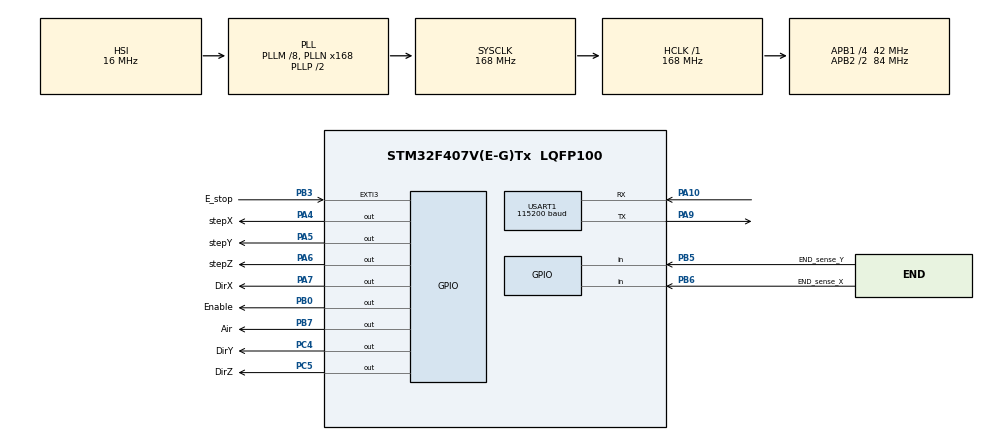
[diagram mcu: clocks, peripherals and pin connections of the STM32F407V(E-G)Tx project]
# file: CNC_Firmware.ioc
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Mcu.Family=STM32F4
Mcu.Name=STM32F407V(E-G)Tx
Mcu.Package=LQFP100
<<<<<<< HEAD
=======
>>>>>>> 1f7927fa3242afaf79d86d3b0a9f3e2ba898adbf
<<<<<<< HEAD
=======
>>>>>>> 1f7927fa3242afaf79d86d3b0a9f3e2ba898adbf
NVIC.EXTI3_IRQn=true\:0\:0\:false\:false\:true\:true\:true\:true
NVIC.PriorityGroup=NVIC_PRIORITYGROUP_4
NVIC.TIM1_UP_TIM10_IRQn=true\:0\:0\:false\:false\:true\:true\:true\:true
<<<<<<< HEAD
NVIC.TIM6_DAC_IRQn=true\:0\:0\:true\:false\:true\:true\:true\:true
NVIC.TIM7_IRQn=true\:0\:0\:true\:false\:true\:true\:true\:true
=======
NVIC.TIM6_DAC_IRQn=true\:0\:0\:false\:false\:true\:true\:true\:true
NVIC.TIM7_IRQn=true\:0\:0\:false\:false\:true\:true\:true\:true
>>>>>>> 1f7927fa3242afaf79d86d3b0a9f3e2ba898adbf
NVIC.USART1_IRQn=true\:0\:0\:false\:false\:true\:true\:true\:true
PA10.Mode=Asynchronous
PA10.Signal=USART1_RX
PA13.Mode=Serial_Wire
PA13.Signal=SYS_JTMS-SWDIO
PA14.Mode=Serial_Wire
PA14.Signal=SYS_JTCK-SWCLK
PA4.GPIO_Label=stepX
PA4.Signal=GPIO_Output
PA5.GPIO_Label=stepY
PA5.Signal=GPIO_Output
PA6.GPIO_Label=stepZ
PA6.Signal=GPIO_Output
PA7.GPIO_Label=DirX
PA7.Signal=GPIO_Output
PA9.Mode=Asynchronous
PA9.Signal=USART1_TX
PB0.GPIO_Label=Enable
PB0.Signal=GPIO_Output
<<<<<<< HEAD
PB3.GPIO_Label=E_stop
PB3.GPIO_ModeDefaultEXTI=GPIO_MODE_IT_FALLING
PB3.GPIO_PuPd=GPIO_PULLUP
PB3.Signal=GPXTI3
PB5.GPIO_Label=END_sense_Y
PB5.GPIO_PuPd=GPIO_PULLDOWN
PB5.Signal=GPIO_Input
PB6.GPIO_Label=END_sense_X
PB6.GPIO_PuPd=GPIO_PULLDOWN
PB6.Signal=GPIO_Input
=======
>>>>>>> 1f7927fa3242afaf79d86d3b0a9f3e2ba898adbf
PB7.GPIO_Label=Air
PB7.PinState=GPIO_PIN_SET
PB7.Signal=GPIO_Output
PC4.GPIO_Label=DirY
PC4.Signal=GPIO_Output
PC5.GPIO_Label=DirZ
PC5.Signal=GPIO_Output
PH0-OSC_IN.Mode=HSE-External-Oscillator
PH0-OSC_IN.Signal=RCC_OSC_IN
PH1-OSC_OUT.Mode=HSE-External-Oscillator
PH1-OSC_OUT.Signal=RCC_OSC_OUT
ProjectManager.HeapSize=0x200
ProjectManager.StackSize=0x400
ProjectManager.TargetToolchain=MDK-ARM V5.32
<<<<<<< HEAD
=======
>>>>>>> 1f7927fa3242afaf79d86d3b0a9f3e2ba898adbf
RCC.48MHZClocksFreq_Value=84000000
RCC.AHBFreq_Value=168000000
RCC.APB1CLKDivider=RCC_HCLK_DIV4
RCC.APB1Freq_Value=42000000
RCC.APB1TimFreq_Value=84000000
RCC.APB2CLKDivider=RCC_HCLK_DIV2
RCC.APB2Freq_Value=84000000
RCC.APB2TimFreq_Value=168000000
RCC.CortexFreq_Value=168000000
RCC.HCLKFreq_Value=168000000
RCC.HSE_VALUE=25000000
RCC.HSI_VALUE=16000000
RCC.LSE_VALUE=32768
RCC.PLLM=8
RCC.PLLN=168
RCC.SYSCLKFreq_VALUE=168000000
RCC.SYSCLKSource=RCC_SYSCLKSOURCE_PLLCLK
RCC.VCOOutputFreq_Value=336000000
<<<<<<< HEAD
=======
>>>>>>> 1f7927fa3242afaf79d86d3b0a9f3e2ba898adbf
TIM10.Period=500
TIM10.Prescaler=83
TIM6.Period=500
TIM6.Prescaler=83
TIM7.Period=500
TIM7.Prescaler=83
<<<<<<< HEAD
USART1.BaudRate=115200
USART1.OverSampling=UART_OVERSAMPLING_16
=======
>>>>>>> 1f7927fa3242afaf79d86d3b0a9f3e2ba898adbf
USART1.VirtualMode=VM_ASYNC
VP_TIM10_VS_ClockSourceINT.Mode=Enable_Timer
VP_TIM6_VS_ClockSourceINT.Mode=Enable_Timer
VP_TIM7_VS_ClockSourceINT.Mode=Enable_Timer
board=custom

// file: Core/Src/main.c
/* USER CODE BEGIN Header */
/**
  ******************************************************************************
  * @file           : main.c
  * @brief          : Main program body
  ******************************************************************************
  * @attention
  *
  * Copyright (c) 2023 STMicroelectronics.
  * All rights reserved.
  *
  * This software is licensed under terms that can be found in the LICENSE file
  * in the root directory of this software component.
  * If no LICENSE file comes with this software, it is provided AS-IS.
  *
  ******************************************************************************
  */
/* USER CODE END Header */
#include "main.h"

/* USER CODE BEGIN Includes */
#include <math.h>
/* USER CODE END Includes */

/* USER CODE BEGIN PD */
#define buf_size 5000
/* USER CODE END PD */

TIM_HandleTypeDef htim6;
TIM_HandleTypeDef htim7;
TIM_HandleTypeDef htim10;

UART_HandleTypeDef huart1;

/* USER CODE BEGIN PV */

uint8_t str[3];
uint8_t TxD[1];
uint8_t current_command = 0;
uint8_t message = '0';  // zero state message
/*
message = '0' - zero state message
message = '1' - ready to next frame message
message = '2' - ready to get x-coord
message = '3' - ready to get y-coord
message = '4' - program if completed
message = '5' - error message
*/

uint32_t x_coord;
uint32_t y_coord;
uint32_t x_prev = 0;
uint32_t y_prev = 0;

uint8_t X_dir = 1;
uint8_t Y_dir = 1;
uint8_t Z_dir = 1;
int32_t X_pos = 0;
int32_t Y_pos = 0;
int32_t Z_pos = 0;

uint8_t flag = 0; // useles
uint32_t feed_rate = 3000;
uint32_t free_speed = 7000;
uint32_t X_period = 500;
uint32_t Y_period = 500;
uint32_t f = 1000000; // dont use
int32_t X_e;
int32_t Y_e;
uint8_t X_home;
uint8_t Y_home;
uint8_t command [buf_size];
uint32_t X_buf [buf_size];
uint32_t Y_buf [buf_size];
uint16_t X_period_buf[buf_size];
uint16_t Y_period_buf[buf_size];
uint16_t frame = 0;
uint8_t X_dir_buf[buf_size];
uint8_t Y_dir_buf[buf_size];

uint32_t cycles_count = 0;
uint8_t ProgrammIsDone = 0;
uint8_t LoadingIsDone = 0;

/* USER CODE END PV */

void SystemClock_Config(void);
static void MX_GPIO_Init(void);
static void MX_TIM6_Init(void);
static void MX_TIM7_Init(void);
static void MX_TIM10_Init(void);
static void MX_USART1_UART_Init(void);
/* USER CODE BEGIN PFP */

void compressor_on(void)
{
	HAL_GPIO_WritePin(Air_GPIO_Port, Air_Pin, GPIO_PIN_RESET);
	//send_message('1');  // ready-message
}

void compressor_off(void)
{
	HAL_GPIO_WritePin(Air_GPIO_Port, Air_Pin, GPIO_PIN_SET);
	//send_message('1');  // ready-message
}

void X_driver(void)
{
		if (X_dir == 1){
				X_pos++;
		}
		else {
				X_pos--;
		}

		GPIOA->ODR |= (1<<4); //stepX
		HAL_Delay(1);
		GPIOA->ODR &= ~(1<<4);
}

void Y_driver(void)
{
		if (Y_dir == 1){
			Y_pos++;
		}
		else {
			Y_pos--;
		}

		GPIOA->ODR |= (1<<5); //stepY
		HAL_Delay(1);
		GPIOA->ODR &= ~(1<<5);
}

void Z_driver(void)
{
		if (Z_dir == 1){
			Z_pos++;
		}
		else {
			Z_pos--;
		}

		GPIOA->ODR |= (1<<6); //stepZ
		HAL_Delay(1);
		GPIOA->ODR &= ~(1<<6);
}

static inline void calculate_period(int32_t x, int32_t y, uint32_t speed)
{
	float fdt;
	if(x < 0){ x*= -1;}
	if(y < 0){ y*= -1;}
	fdt = hypot(x, y);
	fdt = fdt * 1000000 / speed; // fdt = f * sqrtf(x*x + y*y) / feed_rate;
	X_period = fdt / x;
	Y_period = fdt / y;
}

void send_message(uint8_t message)
{
	TxD[0] = message;
	HAL_UART_Transmit(&huart1, TxD, 1, 10); // send ready command
}

void Driver_Init(void)
{
	TIM6 ->DIER |= TIM_DIER_UIE; // enable interrupt from tim6
	TIM7 ->DIER |= TIM_DIER_UIE; // enable interrupt from tim7
	//TIM10->DIER |= TIM_DIER_UIE; // enable interrupt from tim10
	GPIOB->ODR |= (1 << 0); // enable stepper driver
	TIM6 ->CR1 &= ~TIM_CR1_CEN;	// disable tim6
	TIM7 ->CR1 &= ~TIM_CR1_CEN;	// disable tim7
	//TIM10->CR1 &= ~TIM_CR1_CEN;	// disable tim10
}

void Driver_DeInit(void)
{
	TIM6 ->DIER &= ~TIM_DIER_UIE; // disable interrupt from tim6
	TIM7 ->DIER &= ~TIM_DIER_UIE; // disable interrupt from tim7
	TIM10->DIER &= ~TIM_DIER_UIE; // disable interrupt from tim10
	GPIOB->ODR &= ~(1 << 0); // disable stepper driver
	TIM6->CR1 &= ~TIM_CR1_CEN;	// disable tim6
	TIM7->CR1 &= ~TIM_CR1_CEN;	// disable tim7
	TIM10->CR1 &= ~TIM_CR1_CEN;	// disable tim10
}

void CNC_FreeMoving(uint32_t x, uint32_t y)
{

	X_e = x - X_pos; // x-axis deviation
	Y_e = y - Y_pos; // y-axis deviation
	calculate_period(X_e, Y_e, free_speed);

	if(X_e < 0) {
		X_dir = 0;
		GPIOA->ODR |= (1<<7); //dirX
	}
	else {
		X_dir = 1;
		GPIOA->ODR &= ~(1<<7);
	}
	if(Y_e < 0) {
		Y_dir = 0;
		GPIOC->ODR |= (1<<4); //dirY
	}
	else {
		Y_dir = 1;
		GPIOC->ODR &= ~(1<<4);
	}

	TIM6->ARR = X_period; // X_period
	TIM7->ARR = Y_period; // Y_period

	if (X_e != 0) { TIM6->CR1 |= TIM_CR1_CEN; }	// enable tim6
	if (Y_e != 0) { TIM7->CR1 |= TIM_CR1_CEN; }	// enable tim7

	while(X_e != 0 || Y_e != 0){  //  (X_e >= 5 || X_e <= -5 || Y_e >= 5 || Y_e <= -5)
		X_e = x - X_pos; // x-axis deviation
		Y_e = y - Y_pos; // y-axis deviation
		if (X_e == 0) { TIM6->CR1 &= ~TIM_CR1_CEN; }	// disable tim6
		if (Y_e == 0) { TIM7->CR1 &= ~TIM_CR1_CEN; }	// disable tim7
		flag = 2;
	}
}

void CNC_Moving(uint32_t x, uint32_t y)
{

	X_e = x - X_pos; // x-axis deviation
	Y_e = y - Y_pos; // y-axis deviation
	//calculate_period(X_e, Y_e);

	if(X_e < 0) {
		X_dir = 0;
		GPIOA->ODR |= (1<<7); //dirX
	}
	else {
		X_dir = 1;
		GPIOA->ODR &= ~(1<<7);
	}
	if(Y_e < 0) {
		Y_dir = 0;
		GPIOC->ODR |= (1<<4); //dirY
	}
	else {
		Y_dir = 1;
		GPIOC->ODR &= ~(1<<4);
	}

	X_period = X_period_buf[frame];
	Y_period = Y_period_buf[frame];
	TIM6->ARR = X_period;  // X_period
	TIM7->ARR = Y_period; // Y_period

	if (X_e != 0) { TIM6->CR1 |= TIM_CR1_CEN; }	// enable tim6
	if (Y_e != 0) { TIM7->CR1 |= TIM_CR1_CEN; }	// enable tim7

	while(X_e != 0 || Y_e != 0){  //  (X_e >= 5 || X_e <= -5 || Y_e >= 5 || Y_e <= -5)
		DWT->CYCCNT = 0; // Iaioeyai n?ao?ee
		X_e = x - X_pos; // x-axis deviation
		Y_e = y - Y_pos; // y-axis deviation
		if (X_e == 0) { TIM6->CR1 &= ~TIM_CR1_CEN; }	// disable tim6
		if (Y_e == 0) { TIM7->CR1 &= ~TIM_CR1_CEN; }	// disable tim7
		flag = 2;
		cycles_count = DWT->CYCCNT; // ?eoaai n?ao?ee oaeoia
	}
}

void CNC_Init (void)
{
	Driver_Init();
//	if( (GPIOE->IDR & (1 << 3)) != 0 ) { // high level GPIOE 3 - end of y
//			Y_home = 0; // not home
//		}
//		else{ Y_home = 1; } // at home
//		if( (GPIOE->IDR & (1 << 2)) != 0 ) { // high level GPIOE 3 - end of x
//			X_home = 0; // not home
//		}
//		else{ X_home = 1; } // at home
//
//		X_dir = 0;
//		Y_dir = 0;
//		X_period = 300;
//		Y_period = 300;
//		TIM6->ARR = X_period; // X_period
//		TIM7->ARR = Y_period; // Y_period
//		if(X_home != 1) { TIM6->CR1 |= TIM_CR1_CEN; }
//		if(Y_home != 1) { TIM7->CR1 |= TIM_CR1_CEN; }
//
//	while(X_home != 1 || Y_home != 1){
//		if( (GPIOE->IDR & (1 << 3)) != 0 ) { // high level GPIOE 3 - end of y
//			Y_home = 0; // not home
//		}
//		else{ // at home
//			Y_home = 1;
//			TIM7->CR1 &= ~TIM_CR1_CEN;
//		}
//
//		if( (GPIOE->IDR & (1 << 2)) != 0 ) { // high level GPIOE 3 - end of x
//			X_home = 0; // not home
//		}
//		else{ // at home
//			X_home = 1;
//			TIM6->CR1 &= ~TIM_CR1_CEN;
//		}
//	}
//	Driver_DeInit();

	CNC_FreeMoving(7000,7000);
	Driver_DeInit();
	frame = 0;
	X_pos = 0;
	Y_pos = 0;
	flag = 0;
	ProgrammIsDone = 0;
	LoadingIsDone = 0;
	uint8_t request[1];  // ready-message

	while ( HAL_UART_Receive(&huart1, request, 1, 10) != HAL_OK ){}  // waiting request from PC
	if (request[0] == '1'){
		//Driver_Init();
		send_message('1');
		//HAL_GPIO_TogglePin(LED1_GPIO_Port, LED1_Pin);
		HAL_Delay(10);
		//HAL_GPIO_TogglePin(LED1_GPIO_Port, LED1_Pin);
		//Driver_Init();
	}
}

void CNC_DeInit(void)
{
	compressor_off();
	Driver_DeInit();
}

void Gcode_Loader(void)  // main CNC cycle
{
	uint8_t str[3];
	uint8_t frame_data[13];

	while (LoadingIsDone == 0)
	{
		while ( HAL_UART_Receive(&huart1, frame_data, 13, 10) != HAL_OK ){} // waiting for command from PC
		command[frame] = frame_data[0];
		switch(frame_data[0])
		{
			case '1':  //  get a coordinate command (free or work moving) G00 = '1' / G01 = '3'
					x_coord = 100000*(frame_data[1]- '0') + 10000*(frame_data[2]- '0') + 1000*(frame_data[3]- '0') + 100*(frame_data[4]- '0') + 10*(frame_data[5]- '0') + (frame_data[6]- '0'); // write a x-coord variable
					X_buf [frame] = x_coord;
					y_coord = 100000*(frame_data[7]- '0') + 10000*(frame_data[8]- '0') + 1000*(frame_data[9]- '0') + 100*(frame_data[10]- '0') + 10*(frame_data[11]- '0') + (frame_data[12]- '0'); // write a x-coord variable
					Y_buf [frame] = y_coord;

					calculate_period(x_coord - x_prev,y_coord - y_prev, free_speed);
					X_period_buf[frame] = X_period;
					Y_period_buf[frame] = Y_period;

//					if(x_coord - x_prev < 0) { X_dir = 0; }
//					else { X_dir = 1; }
//					if(y_coord - y_prev < 0) { Y_dir = 0; }
//					else { Y_dir = 1; }
//					X_dir_buf[frame] = X_dir;
//					Y_dir_buf[frame] = Y_dir;
					x_prev = x_coord;
					y_prev = y_coord;

					break;

			case '3':
					x_coord = 100000*(frame_data[1]- '0') + 10000*(frame_data[2]- '0') + 1000*(frame_data[3]- '0') + 100*(frame_data[4]- '0') + 10*(frame_data[5]- '0') + (frame_data[6]- '0'); // write a x-coord variable
					X_buf [frame] = x_coord;
					y_coord = 100000*(frame_data[7]- '0') + 10000*(frame_data[8]- '0') + 1000*(frame_data[9]- '0') + 100*(frame_data[10]- '0') + 10*(frame_data[11]- '0') + (frame_data[12]- '0'); // write a x-coord variable
					Y_buf [frame] = y_coord;

					calculate_period(x_coord - x_prev,y_coord - y_prev, feed_rate);
					X_period_buf[frame] = X_period;
					Y_period_buf[frame] = Y_period;

//					if(x_coord - x_prev < 0) { X_dir = 0; }
//					else { X_dir = 1; }
//					if(y_coord - y_prev < 0) { Y_dir = 0; }
//					else { Y_dir = 1; }
//					X_dir_buf[frame] = X_dir;
//					Y_dir_buf[frame] = Y_dir;
					x_prev = x_coord;
					y_prev = y_coord;
					break;
			case '0':
					//send_message('1'); // ready-message
					break;

			case '2':  // compressor on
					// compressor_on();
					//send_message('1'); // ready-message
					break;

			case '4':  // compressor off
					// compressor_off();
					//send_message('1'); // ready-message
					break;

			case '5':  // final of programm
					LoadingIsDone = 1;
					CNC_DeInit();
					//send_message('4'); // program is completed
					break;

			default:
					//send_message('5'); // error
					//CNC_DeInit();
					break;
		}
		frame++;
	}
}

void CNC_Main(void)  // main CNC cycle
{
	frame = 0;
	Driver_Init();
	HAL_Delay(100);
	while (ProgrammIsDone == 0)
	{

		switch(command[frame])
		{
			case '1': case '3':  //  get a coordinate command (free or work moving) G00 = '1' / G01 = '3'
					CNC_Moving(X_buf[frame], Y_buf[frame]);

					break;

			case '0':
					//send_message('1'); // ready-message
					break;

			case '2':  // compressor on
					compressor_on();
					//send_message('1'); // ready-message
					break;

			case '4':  // compressor off
					compressor_off();
					//send_message('1'); // ready-message
					break;

			case '5':  // final of programm

					CNC_DeInit();
					ProgrammIsDone = 1;
					send_message('4'); // program is completed
					break;

			default:
					send_message('5'); // error
					CNC_DeInit();
					break;
		}
		frame++;

	}
}

/* USER CODE END PFP */

int main(void)
{

  /* MCU Configuration--------------------------------------------------------*/

  /* Reset of all peripherals, Initializes the Flash interface and the Systick. */
  HAL_Init();

  /* Configure the system clock */
  SystemClock_Config();

  /* Initialize all configured peripherals */
  MX_GPIO_Init();
  MX_TIM6_Init();
  MX_TIM7_Init();
  MX_TIM10_Init();
  MX_USART1_UART_Init();

  /* Infinite loop */
  /* USER CODE BEGIN WHILE */
  while (1)
  {
		CNC_Init();
		Gcode_Loader();
		CNC_Main();
		CNC_DeInit();
    /* USER CODE END WHILE */

  }
}

void SystemClock_Config(void)
{
  RCC_OscInitTypeDef RCC_OscInitStruct = {0};
  RCC_ClkInitTypeDef RCC_ClkInitStruct = {0};

  /** Configure the main internal regulator output voltage
  */
  __HAL_RCC_PWR_CLK_ENABLE();
  __HAL_PWR_VOLTAGESCALING_CONFIG(PWR_REGULATOR_VOLTAGE_SCALE1);

  /** Initializes the RCC Oscillators according to the specified parameters
  * in the RCC_OscInitTypeDef structure.
  */
  RCC_OscInitStruct.OscillatorType = RCC_OSCILLATORTYPE_HSI;
  RCC_OscInitStruct.HSIState = RCC_HSI_ON;
  RCC_OscInitStruct.HSICalibrationValue = RCC_HSICALIBRATION_DEFAULT;
  RCC_OscInitStruct.PLL.PLLState = RCC_PLL_ON;
  RCC_OscInitStruct.PLL.PLLSource = RCC_PLLSOURCE_HSI;
  RCC_OscInitStruct.PLL.PLLM = 8;
  RCC_OscInitStruct.PLL.PLLN = 168;
  RCC_OscInitStruct.PLL.PLLP = RCC_PLLP_DIV2;
  RCC_OscInitStruct.PLL.PLLQ = 4;
  if (HAL_RCC_OscConfig(&RCC_OscInitStruct) != HAL_OK)
  {
    Error_Handler();
  }

  /** Initializes the CPU, AHB and APB buses clocks
  */
  RCC_ClkInitStruct.ClockType = RCC_CLOCKTYPE_HCLK|RCC_CLOCKTYPE_SYSCLK
                              |RCC_CLOCKTYPE_PCLK1|RCC_CLOCKTYPE_PCLK2;
  RCC_ClkInitStruct.SYSCLKSource = RCC_SYSCLKSOURCE_PLLCLK;
  RCC_ClkInitStruct.AHBCLKDivider = RCC_SYSCLK_DIV1;
  RCC_ClkInitStruct.APB1CLKDivider = RCC_HCLK_DIV4;
  RCC_ClkInitStruct.APB2CLKDivider = RCC_HCLK_DIV2;

  if (HAL_RCC_ClockConfig(&RCC_ClkInitStruct, FLASH_LATENCY_5) != HAL_OK)
  {
    Error_Handler();
  }
}

static void MX_TIM6_Init(void)
{

  TIM_MasterConfigTypeDef sMasterConfig = {0};

  htim6.Instance = TIM6;
  htim6.Init.Prescaler = 83;
  htim6.Init.CounterMode = TIM_COUNTERMODE_UP;
  htim6.Init.Period = 500;
  htim6.Init.AutoReloadPreload = TIM_AUTORELOAD_PRELOAD_DISABLE;
  if (HAL_TIM_Base_Init(&htim6) != HAL_OK)
  {
    Error_Handler();
  }
  sMasterConfig.MasterOutputTrigger = TIM_TRGO_RESET;
  sMasterConfig.MasterSlaveMode = TIM_MASTERSLAVEMODE_DISABLE;
  if (HAL_TIMEx_MasterConfigSynchronization(&htim6, &sMasterConfig) != HAL_OK)
  {
    Error_Handler();
  }

}

static void MX_TIM7_Init(void)
{

  TIM_MasterConfigTypeDef sMasterConfig = {0};

  htim7.Instance = TIM7;
  htim7.Init.Prescaler = 83;
  htim7.Init.CounterMode = TIM_COUNTERMODE_UP;
  htim7.Init.Period = 500;
  htim7.Init.AutoReloadPreload = TIM_AUTORELOAD_PRELOAD_DISABLE;
  if (HAL_TIM_Base_Init(&htim7) != HAL_OK)
  {
    Error_Handler();
  }
  sMasterConfig.MasterOutputTrigger = TIM_TRGO_RESET;
  sMasterConfig.MasterSlaveMode = TIM_MASTERSLAVEMODE_DISABLE;
  if (HAL_TIMEx_MasterConfigSynchronization(&htim7, &sMasterConfig) != HAL_OK)
  {
    Error_Handler();
  }

}

static void MX_TIM10_Init(void)
{

  htim10.Instance = TIM10;
  htim10.Init.Prescaler = 83;
  htim10.Init.CounterMode = TIM_COUNTERMODE_UP;
  htim10.Init.Period = 500;
  htim10.Init.ClockDivision = TIM_CLOCKDIVISION_DIV1;
  htim10.Init.AutoReloadPreload = TIM_AUTORELOAD_PRELOAD_DISABLE;
  if (HAL_TIM_Base_Init(&htim10) != HAL_OK)
  {
    Error_Handler();
  }

}

static void MX_USART1_UART_Init(void)
{

  huart1.Instance = USART1;
  huart1.Init.BaudRate = 115200;
  huart1.Init.WordLength = UART_WORDLENGTH_8B;
  huart1.Init.StopBits = UART_STOPBITS_1;
  huart1.Init.Parity = UART_PARITY_NONE;
  huart1.Init.Mode = UART_MODE_TX_RX;
  huart1.Init.HwFlowCtl = UART_HWCONTROL_NONE;
  huart1.Init.OverSampling = UART_OVERSAMPLING_16;
  if (HAL_UART_Init(&huart1) != HAL_OK)
  {
    Error_Handler();
  }

}

static void MX_GPIO_Init(void)
{
  GPIO_InitTypeDef GPIO_InitStruct = {0};

  /* GPIO Ports Clock Enable */
  __HAL_RCC_GPIOH_CLK_ENABLE();
  __HAL_RCC_GPIOA_CLK_ENABLE();
  __HAL_RCC_GPIOC_CLK_ENABLE();
  __HAL_RCC_GPIOB_CLK_ENABLE();

  /*Configure GPIO pin Output Level */
  HAL_GPIO_WritePin(GPIOA, stepX_Pin|stepY_Pin|stepZ_Pin|DirX_Pin, GPIO_PIN_RESET);

  /*Configure GPIO pin Output Level */
  HAL_GPIO_WritePin(GPIOC, DirY_Pin|DirZ_Pin, GPIO_PIN_RESET);

  /*Configure GPIO pin Output Level */
  HAL_GPIO_WritePin(Enable_GPIO_Port, Enable_Pin, GPIO_PIN_RESET);

  /*Configure GPIO pin Output Level */
  HAL_GPIO_WritePin(Air_GPIO_Port, Air_Pin, GPIO_PIN_SET);

  /*Configure GPIO pins : stepX_Pin stepY_Pin stepZ_Pin DirX_Pin */
  GPIO_InitStruct.Pin = stepX_Pin|stepY_Pin|stepZ_Pin|DirX_Pin;
  GPIO_InitStruct.Mode = GPIO_MODE_OUTPUT_PP;
  GPIO_InitStruct.Pull = GPIO_NOPULL;
  GPIO_InitStruct.Speed = GPIO_SPEED_FREQ_LOW;
  HAL_GPIO_Init(GPIOA, &GPIO_InitStruct);

  /*Configure GPIO pins : DirY_Pin DirZ_Pin */
  GPIO_InitStruct.Pin = DirY_Pin|DirZ_Pin;
  GPIO_InitStruct.Mode = GPIO_MODE_OUTPUT_PP;
  GPIO_InitStruct.Pull = GPIO_NOPULL;
  GPIO_InitStruct.Speed = GPIO_SPEED_FREQ_LOW;
  HAL_GPIO_Init(GPIOC, &GPIO_InitStruct);

  /*Configure GPIO pins : Enable_Pin Air_Pin */
  GPIO_InitStruct.Pin = Enable_Pin|Air_Pin;
  GPIO_InitStruct.Mode = GPIO_MODE_OUTPUT_PP;
  GPIO_InitStruct.Pull = GPIO_NOPULL;
  GPIO_InitStruct.Speed = GPIO_SPEED_FREQ_LOW;
  HAL_GPIO_Init(GPIOB, &GPIO_InitStruct);

}

void Error_Handler(void)
{
  __disable_irq();
  while (1)
  {
  }
}
